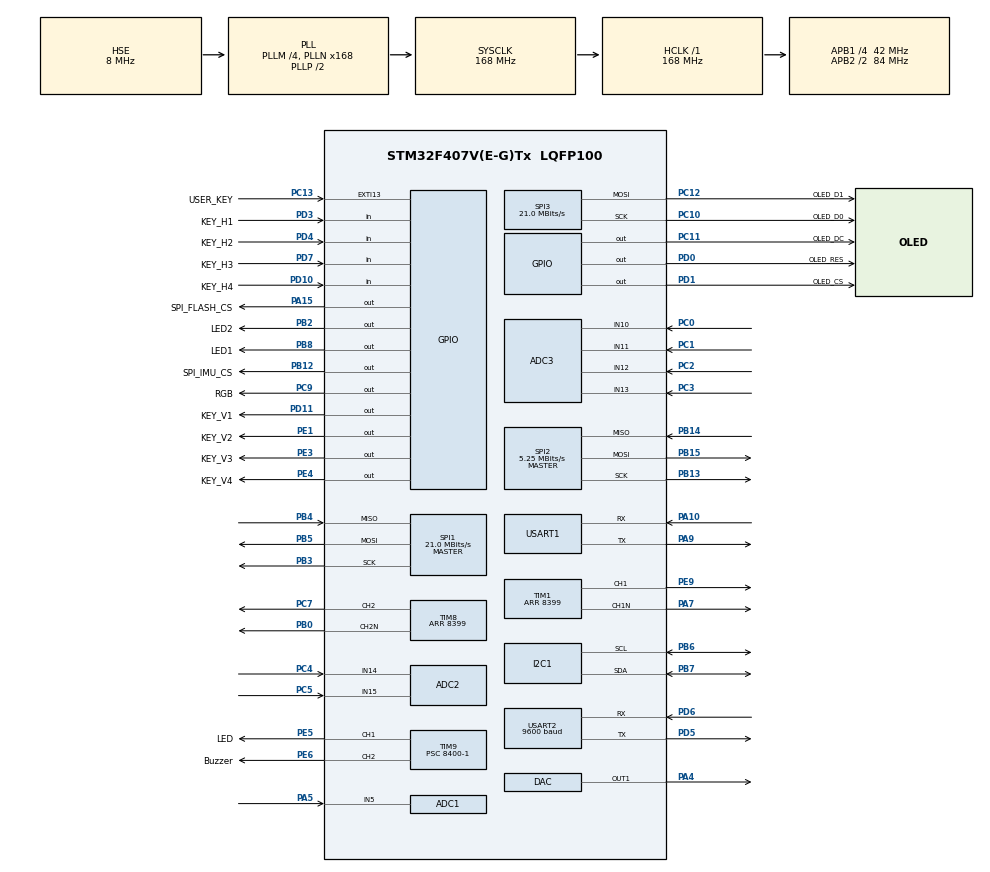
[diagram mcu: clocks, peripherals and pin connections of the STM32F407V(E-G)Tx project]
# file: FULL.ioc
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ADC1.Channel-0\#ChannelRegularConversion=ADC_CHANNEL_5
ADC1.ContinuousConvMode=DISABLE
ADC1.DiscontinuousConvMode=DISABLE
ADC1.ExternalTrigConv=ADC_EXTERNALTRIGCONV_T1_CC2
ADC1.ExternalTrigConvEdge=ADC_EXTERNALTRIGCONVEDGE_RISING
ADC1.NbrOfConversion=1
ADC1.NbrOfConversionFlag=1
ADC1.Rank-0\#ChannelRegularConversion=1
ADC1.SamplingTime-0\#ChannelRegularConversion=ADC_SAMPLETIME_56CYCLES
ADC1.ScanConvMode=DISABLE
ADC1.master=1
ADC2.Channel-2\#ChannelRegularConversion=ADC_CHANNEL_14
ADC2.ContinuousConvMode=DISABLE
ADC2.DiscontinuousConvMode=DISABLE
ADC2.ExternalTrigConv=ADC_EXTERNALTRIGCONV_T1_CC2
ADC2.ExternalTrigConvEdge=ADC_EXTERNALTRIGCONVEDGE_RISING
ADC2.NbrOfConversion=1
ADC2.NbrOfConversionFlag=1
ADC2.Rank-2\#ChannelRegularConversion=1
ADC2.SamplingTime-2\#ChannelRegularConversion=ADC_SAMPLETIME_56CYCLES
ADC2.ScanConvMode=DISABLE
ADC3.Channel-0\#ChannelRegularConversion=ADC_CHANNEL_10
ADC3.ContinuousConvMode=DISABLE
ADC3.DiscontinuousConvMode=DISABLE
ADC3.ExternalTrigConv=ADC_EXTERNALTRIGCONV_T1_CC2
ADC3.ExternalTrigConvEdge=ADC_EXTERNALTRIGCONVEDGE_RISING
ADC3.NbrOfConversion=1
ADC3.NbrOfConversionFlag=1
ADC3.Rank-0\#ChannelRegularConversion=1
ADC3.SamplingTime-0\#ChannelRegularConversion=ADC_SAMPLETIME_56CYCLES
ADC3.ScanConvMode=DISABLE
DAC.DAC_OutputBuffer=DAC_OUTPUTBUFFER_DISABLE
Mcu.Family=STM32F4
Mcu.Name=STM32F407V(E-G)Tx
Mcu.Package=LQFP100
NVIC.ADC_IRQn=true\:1\:0\:false\:false\:true\:true\:true\:true
NVIC.EXTI15_10_IRQn=true\:0\:0\:true\:false\:true\:true\:true\:true
NVIC.PriorityGroup=NVIC_PRIORITYGROUP_4
NVIC.TIM6_DAC_IRQn=true\:0\:0\:false\:false\:true\:true\:true\:true
NVIC.USART1_IRQn=true\:0\:0\:false\:false\:true\:true\:true\:true
NVIC.USART2_IRQn=true\:0\:0\:false\:false\:true\:true\:true\:true
PA10.Mode=Asynchronous
PA10.Signal=USART1_RX
PA13.Mode=Serial_Wire
PA13.Signal=SYS_JTMS-SWDIO
PA14.Mode=Serial_Wire
PA14.Signal=SYS_JTCK-SWCLK
PA15.GPIO_Label=SPI_FLASH_CS
PA15.GPIO_PuPd=GPIO_PULLUP
PA15.GPIO_Speed=GPIO_SPEED_FREQ_VERY_HIGH
PA15.Signal=GPIO_Output
PA4.Signal=COMP_DAC1_group
PA5.Signal=ADCx_IN5
PA7.Mode=PWM Generation1 CH1 CH1N
PA7.Signal=TIM1_CH1N
PA9.Mode=Asynchronous
PA9.Signal=USART1_TX
PB0.Mode=PWM Generation2 CH2 CH2N
PB0.Signal=TIM8_CH2N
PB12.GPIO_Label=SPI_IMU_CS
PB12.GPIO_PuPd=GPIO_PULLUP
PB12.GPIO_Speed=GPIO_SPEED_FREQ_VERY_HIGH
PB12.Signal=GPIO_Output
PB13.Mode=Full_Duplex_Master
PB13.Signal=SPI2_SCK
PB14.Mode=Full_Duplex_Master
PB14.Signal=SPI2_MISO
PB15.Mode=Full_Duplex_Master
PB15.Signal=SPI2_MOSI
PB2.GPIO_Label=LED2
PB2.GPIO_PuPd=GPIO_PULLDOWN
PB2.GPIO_Speed=GPIO_SPEED_FREQ_VERY_HIGH
PB2.PinState=GPIO_PIN_RESET
PB2.Signal=GPIO_Output
PB3.Mode=Full_Duplex_Master
PB3.Signal=SPI1_SCK
PB4.Mode=Full_Duplex_Master
PB4.Signal=SPI1_MISO
PB5.Mode=Full_Duplex_Master
PB5.Signal=SPI1_MOSI
PB6.Mode=I2C
PB6.Signal=I2C1_SCL
PB7.Mode=I2C
PB7.Signal=I2C1_SDA
PB8.GPIO_Label=LED1
PB8.GPIO_PuPd=GPIO_PULLDOWN
PB8.GPIO_Speed=GPIO_SPEED_FREQ_VERY_HIGH
PB8.PinState=GPIO_PIN_RESET
PB8.Signal=GPIO_Output
PC0.Signal=ADCx_IN10
PC1.Signal=ADCx_IN11
PC10.GPIO_Label=OLED_D0
PC10.Mode=TX_Only_Simplex_Unidirect_Master
PC10.Signal=SPI3_SCK
PC11.GPIO_Label=OLED_DC
PC11.GPIO_PuPd=GPIO_PULLUP
PC11.GPIO_Speed=GPIO_SPEED_FREQ_VERY_HIGH
PC11.Signal=GPIO_Output
PC12.GPIO_Label=OLED_D1
PC12.Mode=TX_Only_Simplex_Unidirect_Master
PC12.Signal=SPI3_MOSI
PC13-ANTI_TAMP.GPIO_Label=USER_KEY
PC13-ANTI_TAMP.GPIO_ModeDefaultEXTI=GPIO_MODE_IT_FALLING
PC13-ANTI_TAMP.GPIO_PuPd=GPIO_PULLUP
PC13-ANTI_TAMP.Signal=GPXTI13
PC14-OSC32_IN.Mode=LSE-External-Oscillator
PC14-OSC32_IN.Signal=RCC_OSC32_IN
PC15-OSC32_OUT.Mode=LSE-External-Oscillator
PC15-OSC32_OUT.Signal=RCC_OSC32_OUT
PC2.Signal=ADCx_IN12
PC3.Signal=ADCx_IN13
PC4.Signal=ADCx_IN14
PC5.Signal=ADCx_IN15
PC7.Signal=S_TIM8_CH2
PC9.GPIO_Label=RGB
PC9.GPIO_PuPd=GPIO_PULLDOWN
PC9.GPIO_Speed=GPIO_SPEED_FREQ_VERY_HIGH
PC9.Signal=GPIO_Output
PD0.GPIO_Label=OLED_RES
PD0.GPIO_PuPd=GPIO_PULLUP
PD0.GPIO_Speed=GPIO_SPEED_FREQ_VERY_HIGH
PD0.Signal=GPIO_Output
PD1.GPIO_Label=OLED_CS
PD1.GPIO_PuPd=GPIO_PULLUP
PD1.GPIO_Speed=GPIO_SPEED_FREQ_VERY_HIGH
PD1.Signal=GPIO_Output
PD10.GPIO_Label=KEY_H4
PD10.GPIO_PuPd=GPIO_PULLUP
PD10.Signal=GPIO_Input
PD11.GPIO_Label=KEY_V1
PD11.GPIO_ModeDefaultOutputPP=GPIO_MODE_OUTPUT_PP
PD11.GPIO_PuPd=GPIO_PULLUP
PD11.GPIO_Speed=GPIO_SPEED_FREQ_VERY_HIGH
PD11.PinState=GPIO_PIN_SET
PD11.Signal=GPIO_Output
PD3.GPIO_Label=KEY_H1
PD3.GPIO_PuPd=GPIO_PULLUP
PD3.Signal=GPIO_Input
PD4.GPIO_Label=KEY_H2
PD4.GPIO_PuPd=GPIO_PULLUP
PD4.Signal=GPIO_Input
PD5.Mode=Asynchronous
PD5.Signal=USART2_TX
PD6.Mode=Asynchronous
PD6.Signal=USART2_RX
PD7.GPIO_Label=KEY_H3
PD7.GPIO_PuPd=GPIO_PULLUP
PD7.Signal=GPIO_Input
PE1.GPIO_Label=KEY_V2
PE1.GPIO_PuPd=GPIO_PULLUP
PE1.GPIO_Speed=GPIO_SPEED_FREQ_VERY_HIGH
PE1.PinState=GPIO_PIN_SET
PE1.Signal=GPIO_Output
PE3.GPIO_Label=KEY_V3
PE3.GPIO_ModeDefaultOutputPP=GPIO_MODE_OUTPUT_PP
PE3.GPIO_PuPd=GPIO_PULLUP
PE3.GPIO_Speed=GPIO_SPEED_FREQ_VERY_HIGH
PE3.PinState=GPIO_PIN_SET
PE3.Signal=GPIO_Output
PE4.GPIO_Label=KEY_V4
PE4.GPIO_ModeDefaultOutputPP=GPIO_MODE_OUTPUT_PP
PE4.GPIO_PuPd=GPIO_PULLUP
PE4.GPIO_Speed=GPIO_SPEED_FREQ_VERY_HIGH
PE4.PinState=GPIO_PIN_SET
PE4.Signal=GPIO_Output
PE5.GPIO_Label=LED
PE5.Signal=S_TIM9_CH1
PE6.GPIO_Label=Buzzer
PE6.Signal=S_TIM9_CH2
PE9.Signal=S_TIM1_CH1
PH0-OSC_IN.Mode=HSE-External-Oscillator
PH0-OSC_IN.Signal=RCC_OSC_IN
PH1-OSC_OUT.Mode=HSE-External-Oscillator
PH1-OSC_OUT.Signal=RCC_OSC_OUT
ProjectManager.HeapSize=0x200
ProjectManager.StackSize=0x400
ProjectManager.TargetToolchain=STM32CubeIDE
RCC.48MHZClocksFreq_Value=84000000
RCC.AHBFreq_Value=168000000
RCC.APB1CLKDivider=RCC_HCLK_DIV4
RCC.APB1Freq_Value=42000000
RCC.APB1TimFreq_Value=84000000
RCC.APB2CLKDivider=RCC_HCLK_DIV2
RCC.APB2Freq_Value=84000000
RCC.APB2TimFreq_Value=168000000
RCC.CortexFreq_Value=168000000
RCC.HCLKFreq_Value=168000000
RCC.HSE_VALUE=8000000
RCC.HSI_VALUE=16000000
RCC.PLLM=4
RCC.PLLN=168
RCC.PLLSourceVirtual=RCC_PLLSOURCE_HSE
RCC.SYSCLKFreq_VALUE=168000000
RCC.SYSCLKSource=RCC_SYSCLKSOURCE_PLLCLK
RCC.VCOOutputFreq_Value=336000000
SH.ADCx_IN10.0=ADC3_IN10,IN10
SH.ADCx_IN11.0=ADC3_IN11,IN11
SH.ADCx_IN12.0=ADC3_IN12,IN12
SH.ADCx_IN13.0=ADC3_IN13,IN13
SH.ADCx_IN14.0=ADC2_IN14,IN14
SH.ADCx_IN15.0=ADC2_IN15,IN15
SH.ADCx_IN5.0=ADC1_IN5,IN5
SH.COMP_DAC1_group.0=DAC_OUT1,DAC_OUT1
SH.S_TIM1_CH1.0=TIM1_CH1,PWM Generation1 CH1 CH1N
SH.S_TIM8_CH2.0=TIM8_CH2,PWM Generation2 CH2 CH2N
SH.S_TIM9_CH1.0=TIM9_CH1,PWM Generation1 CH1
SH.S_TIM9_CH2.0=TIM9_CH2,PWM Generation2 CH2
SPI1.BaudRatePrescaler=SPI_BAUDRATEPRESCALER_4
SPI1.CLKPhase=SPI_PHASE_2EDGE
SPI1.CLKPolarity=SPI_POLARITY_HIGH
SPI1.CalculateBaudRate=21.0 MBits/s
SPI1.Direction=SPI_DIRECTION_2LINES
SPI1.Mode=SPI_MODE_MASTER
SPI1.VirtualType=VM_MASTER
SPI2.BaudRatePrescaler=SPI_BAUDRATEPRESCALER_8
SPI2.CLKPhase=SPI_PHASE_2EDGE
SPI2.CLKPolarity=SPI_POLARITY_HIGH
SPI2.CalculateBaudRate=5.25 MBits/s
SPI2.Direction=SPI_DIRECTION_2LINES
SPI2.Mode=SPI_MODE_MASTER
SPI2.VirtualType=VM_MASTER
SPI3.CLKPhase=SPI_PHASE_2EDGE
SPI3.CLKPolarity=SPI_POLARITY_HIGH
SPI3.CalculateBaudRate=21.0 MBits/s
SPI3.Direction=SPI_DIRECTION_2LINES
SPI3.Mode=SPI_MODE_MASTER
SPI3.VirtualType=VM_MASTER
TIM1.Channel-PWM\ Generation1\ CH1\ CH1N=TIM_CHANNEL_1
TIM1.Channel-PWM\ Generation2\ CH2\ No\ Output=TIM_CHANNEL_2
TIM1.ClockDivision=TIM_CLOCKDIVISION_DIV2
TIM1.OCMode_PWM-PWM\ Generation2\ CH2\ No\ Output=TIM_OCMODE_PWM1
TIM1.DeadTime=84
TIM1.Period=8399
TIM1.Pulse-PWM\ Generation2\ CH2\ No\ Output=7140
TIM6.AutoReloadPreload=TIM_AUTORELOAD_PRELOAD_ENABLE
TIM6.Period=100-1
TIM6.Prescaler=420-1
TIM6.TIM_MasterOutputTrigger=TIM_TRGO_UPDATE
TIM8.Channel-PWM\ Generation2\ CH2\ CH2N=TIM_CHANNEL_2
TIM8.ClockDivision=TIM_CLOCKDIVISION_DIV2
TIM8.DeadTime=84
TIM8.Period=8399
TIM9.Channel-PWM\ Generation1\ CH1=TIM_CHANNEL_1
TIM9.Channel-PWM\ Generation2\ CH2=TIM_CHANNEL_2
TIM9.OCMode_PWM-PWM\ Generation1\ CH1=TIM_OCMODE_PWM2
TIM9.OCMode_PWM-PWM\ Generation2\ CH2=TIM_OCMODE_PWM2
TIM9.Period=20-1
TIM9.Prescaler=8400-1
USART1.VirtualMode=VM_ASYNC
USART2.BaudRate=9600
USART2.VirtualMode=VM_ASYNC
VP_TIM1_VS_ClockSourceINT.Mode=Internal
VP_TIM6_VS_ClockSourceINT.Mode=Enable_Timer
VP_TIM8_VS_ClockSourceINT.Mode=Internal
board=custom

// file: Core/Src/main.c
/* USER CODE BEGIN Header */
/**
  ******************************************************************************
  * @file           : main.c
  * @brief          : Main program body
  ******************************************************************************
  * @attention
  *
  * Copyright (c) 2025 STMicroelectronics.
  * All rights reserved.
  *
  * This software is licensed under terms that can be found in the LICENSE file
  * in the root directory of this software component.
  * If no LICENSE file comes with this software, it is provided AS-IS.
  *
  ******************************************************************************
  */
/* USER CODE END Header */
#include "main.h"
#include "adc.h"
#include "dac.h"
#include "i2c.h"
#include "spi.h"
#include "tim.h"
#include "usart.h"
#include "gpio.h"

/* USER CODE BEGIN Includes */
#include "stdio.h"
#include "oled.h"
#include "boost.h"
#include "../IMU/IMU.h"
#include "w25q64.h"
#include "dac.h"
#include "stm32f4xx_hal_i2c.h"
/* USER CODE END Includes */

/* USER CODE BEGIN PV */
extern uint8_t uart1_data[1];
/* USER CODE END PV */

void SystemClock_Config(void);
/* USER CODE BEGIN PFP */
   void MX_USER_Init(void)
{
    OLED_Init();
    OLED_ShowString(0, 0, "INITIALIZING", 16);
    OLED_Refresh();

    Boost_Init();
    Boost_SetTarget(VAC_TARGET_DEFAULT);
    Boost_SetCurrentLimit(IOUT_LIMIT_DEFAULT);
}
    void MX_USER_Loop(void)
  {
    static uint32_t last_key_tick = 0;
    static uint32_t last_disp_tick = 0;
    uint32_t now = HAL_GetTick();

    if (now - last_key_tick >= 20U) {
        last_key_tick = now;
        Boost_KeyScan();
    }

    if (now - last_disp_tick >= 200U) {
        last_disp_tick = now;
        if (Boost_GetCalMode() != BOOST_CAL_NONE) {
            OLED_BoostCalUI(
                (uint8_t)Boost_GetCalMode(),
                Boost_GetCalBias(),
                Boost_GetCalGain(),
                Boost_GetCalValue()
            );
        } else {
            OLED_BoostUI(
                Boost_GetTarget(),
                Boost_GetCurrentLimit(),
                Boost_GetOutputFrequency(),
                Boost_GetVrms(),
                Boost_GetIrms(),
                Boost_GetIin(),
                Boost_GetDuty(),
                (uint8_t)Boost_GetEditMode(),
                (uint8_t)Boost_GetRunState()
            );
        }
    }
  }
/* USER CODE END PFP */

/* USER CODE BEGIN 0 */
float ypr[3];
char syaw[5];
char spitch[5];
char sroll[5];
uint32_t RGB_RNG=0;
int value[3];
char sadc_v[5];
uint8_t eeprom_write_data=0x55;
uint8_t eeprom_read_data=0;
uint8_t key_board_dat[2]={'0','\0'};
/* USER CODE END 0 */

int main(void)
{

  /* MCU Configuration--------------------------------------------------------*/

  /* Reset of all peripherals, Initializes the Flash interface and the Systick. */
  HAL_Init();

  /* Configure the system clock */
  SystemClock_Config();

  /* Initialize all configured peripherals */
  MX_GPIO_Init();
  MX_USART1_UART_Init();
  MX_SPI3_Init();
  MX_TIM6_Init();
  MX_SPI2_Init();
  MX_SPI1_Init();
  MX_DAC_Init();
  MX_ADC1_Init();
  MX_ADC2_Init();
  MX_ADC3_Init();
  MX_I2C1_Init();
  MX_TIM9_Init();
  MX_USART2_UART_Init();
  MX_TIM1_Init();
  MX_TIM8_Init();
  /* USER CODE BEGIN 2 */
  HAL_TIM_PWM_Start(&htim9,TIM_CHANNEL_1);
  HAL_TIM_PWM_Start(&htim9,TIM_CHANNEL_2);

//  HAL_DAC_Start(&hdac,DAC1_CHANNEL_1);
//  HAL_DAC_SetValue(&hdac,DAC1_CHANNEL_1,DAC_ALIGN_12B_R,2048);
   MX_USER_Init();

  /* USER CODE END 2 */

  /* Infinite loop */
  while (1)
  {

    /* USER CODE BEGIN 3 */
    MX_USER_Loop();
  //  MX_ADC1_DisplayLoop();

  }

  /* USER CODE END 3 */
}

void SystemClock_Config(void)
{
  RCC_OscInitTypeDef RCC_OscInitStruct = {0};
  RCC_ClkInitTypeDef RCC_ClkInitStruct = {0};

  /** Configure the main internal regulator output voltage
  */
  __HAL_RCC_PWR_CLK_ENABLE();
  __HAL_PWR_VOLTAGESCALING_CONFIG(PWR_REGULATOR_VOLTAGE_SCALE1);

  /** Initializes the RCC Oscillators according to the specified parameters
  * in the RCC_OscInitTypeDef structure.
  */
  RCC_OscInitStruct.OscillatorType = RCC_OSCILLATORTYPE_HSE;
  RCC_OscInitStruct.HSEState = RCC_HSE_ON;
  RCC_OscInitStruct.PLL.PLLState = RCC_PLL_ON;
  RCC_OscInitStruct.PLL.PLLSource = RCC_PLLSOURCE_HSE;
  RCC_OscInitStruct.PLL.PLLM = 4;
  RCC_OscInitStruct.PLL.PLLN = 168;
  RCC_OscInitStruct.PLL.PLLP = RCC_PLLP_DIV2;
  RCC_OscInitStruct.PLL.PLLQ = 4;
  if (HAL_RCC_OscConfig(&RCC_OscInitStruct) != HAL_OK)
  {
    Error_Handler();
  }

  /** Initializes the CPU, AHB and APB buses clocks
  */
  RCC_ClkInitStruct.ClockType = RCC_CLOCKTYPE_HCLK|RCC_CLOCKTYPE_SYSCLK
                              |RCC_CLOCKTYPE_PCLK1|RCC_CLOCKTYPE_PCLK2;
  RCC_ClkInitStruct.SYSCLKSource = RCC_SYSCLKSOURCE_PLLCLK;
  RCC_ClkInitStruct.AHBCLKDivider = RCC_SYSCLK_DIV1;
  RCC_ClkInitStruct.APB1CLKDivider = RCC_HCLK_DIV4;
  RCC_ClkInitStruct.APB2CLKDivider = RCC_HCLK_DIV2;

  if (HAL_RCC_ClockConfig(&RCC_ClkInitStruct, FLASH_LATENCY_5) != HAL_OK)
  {
    Error_Handler();
  }
}

void Error_Handler(void)
{
  __disable_irq();
  while (1)
  {
  }
}
